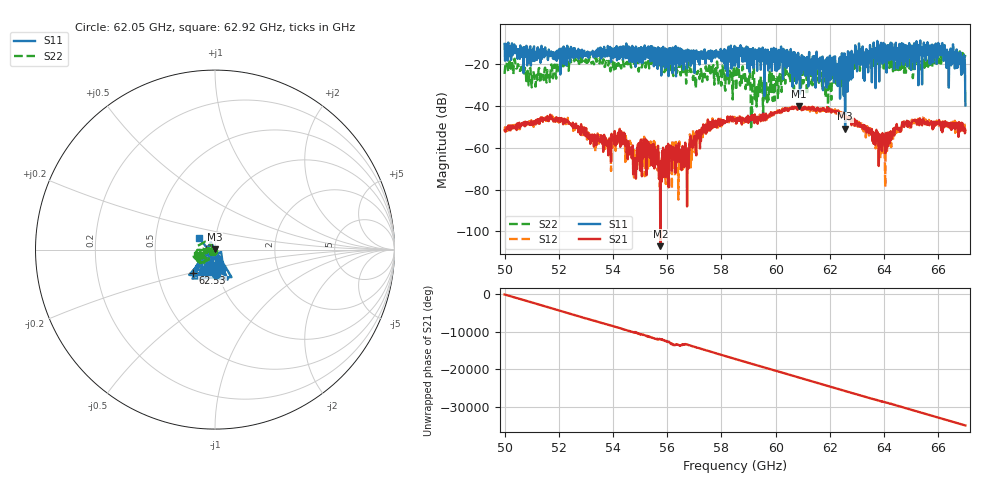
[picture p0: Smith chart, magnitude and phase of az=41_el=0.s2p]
!Created with skrf (http://scikit-rf.org).
# GHz S RI R 50.0
!freq ReS11 ImS11 ReS21 ImS21 ReS12 ImS12 ReS22 ImS22
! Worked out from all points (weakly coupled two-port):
!   1001 points, 50 GHz to 67 GHz, reference 50 ohm
!   highest |S21| = -40.25 dB at 60.86 GHz (marker M1); lowest = -107.0 dB at 55.75 GHz (marker M2)
!   lowest |S11| = -50.9 dB at 62.56 GHz (marker M3), VSWR 1.01, Z = 49.9 + j0.246 ohm
!   |S11| at or under -10 dB: 50.14 GHz to 63.62 GHz (13.48 GHz wide, 23.7 % of centre); 64.43 GHz to 65.19 GHz (760.7 MHz wide, 1.17 % of centre); 66.15 GHz to end of sweep (the widest 3 of 14)
!   |S22| runs from -51.3 to -13.9 dB; largest |S21 - S12| = 0.0023
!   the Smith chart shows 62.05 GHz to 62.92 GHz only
!   S11 on the Smith chart (normalised r, x): 62.05 GHz: 0.97, -0.28; 62.53 GHz: 0.76, -0.21; 62.92 GHz: 0.83, +0.11
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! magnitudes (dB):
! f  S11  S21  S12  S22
! 50 GHz  -10.4  -51.7  -50.9  -24.8
! 51.07 GHz  -12.4  -49.0  -50.0  -24.2
! 52.84 GHz  -14.5  -51.3  -51.5  -19.2
! 54.39 GHz  -14.7  -56.5  -56.8  -20.0
! 54.81 GHz  -12.4  -68.4  -69.6  -20.0
! 55.47 GHz  -15.1  -68.8  -63.0  -20.5
! 55.68 GHz  -13.8  -68.8  -67.0  -22.0
! 55.75 GHz  -14.9  -107.0  -66.5  -19.8
! 57.41 GHz  -19.7  -49.4  -51.0  -21.4
! 58.5 GHz  -20.9  -47.2  -46.8  -24.4
! 59.62 GHz  -13.1  -46.9  -45.9  -36.5
! 60.86 GHz  -20.2  -40.3  -41.2  -21.3
! 61.34 GHz  -25.3  -41.5  -40.8  -26.5
! 62.05 GHz  -17.1  -43.2  -42.4  -37.1
! 62.53 GHz  -14.9  -44.8  -45.3  -18.8
! 62.56 GHz  -50.9  -44.7  -45.4  -20.2
! 62.92 GHz  -19.0  -49.5  -48.6  -19.4
! 64.18 GHz  -18.4  -52.7  -55.7  -18.2
! 64.76 GHz  -16.2  -49.2  -48.3  -21.2
! 66.08 GHz  -15.7  -49.3  -47.9  -15.3
! 66.9 GHz  -16.7  -51.7  -48.5  -14.8
! 67 GHz  -39.8  -52.0  -51.7  -15.7
